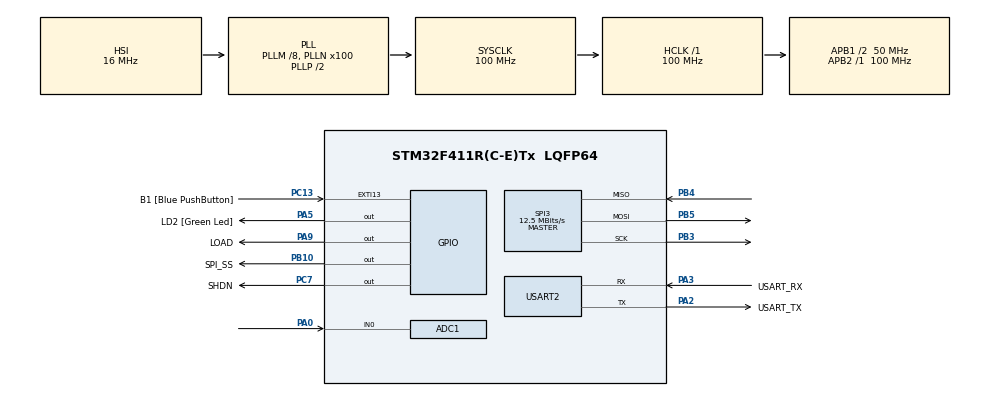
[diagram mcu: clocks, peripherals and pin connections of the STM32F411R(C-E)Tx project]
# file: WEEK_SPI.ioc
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ADC1.Channel-0\#ChannelRegularConversion=ADC_CHANNEL_0
ADC1.DMAContinuousRequests=ENABLE
ADC1.DiscontinuousConvMode=DISABLE
ADC1.ExternalTrigConv=ADC_EXTERNALTRIGCONV_T3_TRGO
ADC1.NbrOfConversionFlag=1
ADC1.Rank-0\#ChannelRegularConversion=1
ADC1.SamplingTime-0\#ChannelRegularConversion=ADC_SAMPLETIME_3CYCLES
ADC1.ScanConvMode=ENABLE
ADC1.master=1
Dma.ADC1.0.Direction=DMA_PERIPH_TO_MEMORY
Dma.ADC1.0.FIFOMode=DMA_FIFOMODE_DISABLE
Dma.ADC1.0.Instance=DMA2_Stream0
Dma.ADC1.0.MemDataAlignment=DMA_MDATAALIGN_HALFWORD
Dma.ADC1.0.MemInc=DMA_MINC_ENABLE
Dma.ADC1.0.Mode=DMA_CIRCULAR
Dma.ADC1.0.PeriphDataAlignment=DMA_PDATAALIGN_HALFWORD
Dma.ADC1.0.PeriphInc=DMA_PINC_DISABLE
Dma.ADC1.0.Priority=DMA_PRIORITY_LOW
Dma.Request0=ADC1
Mcu.Family=STM32F4
Mcu.Name=STM32F411R(C-E)Tx
Mcu.Package=LQFP64
NVIC.ADC_IRQn=true\:0\:0\:false\:false\:true\:true\:true
NVIC.DMA2_Stream0_IRQn=true\:0\:0\:false\:false\:true\:false\:true
NVIC.PriorityGroup=NVIC_PRIORITYGROUP_0
NVIC.SPI3_IRQn=true\:0\:0\:false\:false\:true\:true\:true
NVIC.TIM1_TRG_COM_TIM11_IRQn=true\:0\:0\:false\:false\:true\:true\:true
NVIC.USART2_IRQn=true\:0\:0\:false\:false\:true\:true\:true
PA0-WKUP.Signal=ADCx_IN0
PA13.GPIO_Label=TMS
PA13.Mode=Serial_Wire
PA13.Signal=SYS_JTMS-SWDIO
PA14.GPIO_Label=TCK
PA14.Mode=Serial_Wire
PA14.Signal=SYS_JTCK-SWCLK
PA2.GPIO_Label=USART_TX
PA2.Mode=Asynchronous
PA2.Signal=USART2_TX
PA3.GPIO_Label=USART_RX
PA3.Mode=Asynchronous
PA3.Signal=USART2_RX
PA5.GPIO_Label=LD2 [Green Led]
PA5.Signal=GPIO_Output
PA9.GPIO_Label=LOAD
PA9.PinState=GPIO_PIN_SET
PA9.Signal=GPIO_Output
PB10.GPIO_Label=SPI_SS
PB10.PinState=GPIO_PIN_SET
PB10.Signal=GPIO_Output
PB3.Mode=Full_Duplex_Master
PB3.Signal=SPI3_SCK
PB4.Mode=Full_Duplex_Master
PB4.Signal=SPI3_MISO
PB5.Mode=Full_Duplex_Master
PB5.Signal=SPI3_MOSI
PC13-ANTI_TAMP.GPIO_Label=B1 [Blue PushButton]
PC13-ANTI_TAMP.GPIO_ModeDefaultEXTI=GPIO_MODE_IT_FALLING
PC13-ANTI_TAMP.Signal=GPXTI13
PC14-OSC32_IN.Mode=LSE-External-Oscillator
PC14-OSC32_IN.Signal=RCC_OSC32_IN
PC15-OSC32_OUT.Mode=LSE-External-Oscillator
PC15-OSC32_OUT.Signal=RCC_OSC32_OUT
PC7.GPIO_Label=SHDN
PC7.PinState=GPIO_PIN_SET
PC7.Signal=GPIO_Output
PH0\ -\ OSC_IN.Mode=HSE-External-Clock-Source
PH0\ -\ OSC_IN.Signal=RCC_OSC_IN
PH1\ -\ OSC_OUT.Mode=HSE-External-Clock-Source
PH1\ -\ OSC_OUT.Signal=RCC_OSC_OUT
ProjectManager.HeapSize=0x200
ProjectManager.StackSize=0x400
ProjectManager.TargetToolchain=STM32CubeIDE
RCC.48MHZClocksFreq_Value=50000000
RCC.AHBFreq_Value=100000000
RCC.APB1CLKDivider=RCC_HCLK_DIV2
RCC.APB1Freq_Value=50000000
RCC.APB1TimFreq_Value=100000000
RCC.APB2Freq_Value=100000000
RCC.APB2TimFreq_Value=100000000
RCC.CortexFreq_Value=100000000
RCC.FLatency-AdvancedSettings=FLASH_LATENCY_3
RCC.HCLKFreq_Value=100000000
RCC.HSE_VALUE=8000000
RCC.HSI_VALUE=16000000
RCC.PLLM=8
RCC.PLLN=100
RCC.SYSCLKFreq_VALUE=100000000
RCC.SYSCLKSource=RCC_SYSCLKSOURCE_PLLCLK
RCC.VCOOutputFreq_Value=200000000
SH.ADCx_IN0.0=ADC1_IN0,IN0
SPI3.BaudRatePrescaler=SPI_BAUDRATEPRESCALER_4
SPI3.CalculateBaudRate=12.5 MBits/s
SPI3.DataSize=SPI_DATASIZE_16BIT
SPI3.Direction=SPI_DIRECTION_2LINES
SPI3.Mode=SPI_MODE_MASTER
SPI3.VirtualType=VM_MASTER
TIM11.Prescaler=99
TIM3.Period=100
TIM3.Prescaler=99
TIM3.TIM_MasterOutputTrigger=TIM_TRGO_UPDATE
USART2.VirtualMode=VM_ASYNC
VP_TIM11_VS_ClockSourceINT.Mode=Enable_Timer
VP_TIM3_VS_ClockSourceINT.Mode=Internal
board=NUCLEO-F411RE

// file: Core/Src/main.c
/* USER CODE BEGIN Header */
/**
 ******************************************************************************
 * @file           : main.c
 * @brief          : Main program body
 ******************************************************************************
 * @attention
 *
 * <h2><center>&copy; Copyright (c) 2021 STMicroelectronics.
 * All rights reserved.</center></h2>
 *
 * This software component is licensed by ST under BSD 3-Clause license,
 * the "License"; You may not use this file except in compliance with the
 * License. You may obtain a copy of the License at:
 *                        opensource.org/licenses/BSD-3-Clause
 *
 ******************************************************************************
 */
/* USER CODE END Header */
#include "main.h"
#include <stdio.h>
#include <string.h>
#include <math.h>

ADC_HandleTypeDef hadc1;
DMA_HandleTypeDef hdma_adc1;

SPI_HandleTypeDef hspi3;

TIM_HandleTypeDef htim3;
TIM_HandleTypeDef htim11;

UART_HandleTypeDef huart2;

/* USER CODE BEGIN PV */

char TxDataBuffer[128] =
{ 0 };
char RxDataBuffer[128] =
{ 0 };

uint8_t STATE_Display = 0;
uint64_t timestamp = 0;
uint64_t timestampsin = 0;
float time =0;
int a = 0;
int c=0;
int t=0;
int mode = 0;
float q=0;
float w=0;
float r=0;
uint16_t ADCin = 0;
float VADCin =0;
uint64_t _micro = 0;
float dataOut = 0;
uint8_t DACConfig = 0b0011;
uint16_t  NormalizedataOut =0;

// sawtooth
float F_sawtooth= 0;
int Status_sawtooth= 0;
float Amplitude_sawtooth = 0;
float VoltHigh_sawtooth = 3.3;
float VoltLow_sawtooth  = 0;

// sin
float F_sin= 0;
float Amplitude_sin= 0;
float VoltHigh_sin= 3.3;
float VoltLow_sin = 0;
// Square
float F_Square= 0;

float VoltHigh_Square= 3.3;
float VoltLow_Square = 0;
int duty = 100;

	enum _StateDisplay
	{
	  StateDisplay_Start = 0,
	  StateDisplay_MenuRoot_Print = 10,
	  StateDisplay_MenuRoot_WaitInput,
	  StateDisplay_MenuSawtooth_Print = 20,
	  StateDisplay_MenuSawtooth_WaitInput,
	  StateDisplay_MenuSine_Print = 30,
	  StateDisplay_MenuSine_WaitInput,
	  StateDisplay_MenuSquare_Print = 40,
	  StateDisplay_MenuSquare_WaitInput,

	};

/* USER CODE END PV */

void SystemClock_Config(void);
static void MX_GPIO_Init(void);
static void MX_DMA_Init(void);
static void MX_USART2_UART_Init(void);
static void MX_SPI3_Init(void);
static void MX_ADC1_Init(void);
static void MX_TIM3_Init(void);
static void MX_TIM11_Init(void);
/* USER CODE BEGIN PFP */
void MCP4922SetOutput(uint8_t Config, uint16_t DACOutput);
uint64_t micros();
int16_t UARTRecieveIT();
/* USER CODE END PFP */

int main(void)
{

  /* MCU Configuration--------------------------------------------------------*/

  /* Reset of all peripherals, Initializes the Flash interface and the Systick. */
  HAL_Init();

  /* Configure the system clock */
  SystemClock_Config();

  /* Initialize all configured peripherals */
  MX_GPIO_Init();
  MX_DMA_Init();
  MX_USART2_UART_Init();
  MX_SPI3_Init();
  MX_ADC1_Init();
  MX_TIM3_Init();
  MX_TIM11_Init();
  /* USER CODE BEGIN 2 */
	HAL_TIM_Base_Start(&htim3);
	HAL_TIM_Base_Start_IT(&htim11);
	HAL_ADC_Start_DMA(&hadc1, (uint32_t*) &ADCin, 1);

	HAL_GPIO_WritePin(LOAD_GPIO_Port, LOAD_Pin, GPIO_PIN_RESET);

	 char temp[]="HELLO WORLD\r\n please type something to test UART\r\n";
	  HAL_UART_Transmit(&huart2, (uint8_t*)temp, strlen(temp),10);

  /* USER CODE END 2 */

  /* Infinite loop */
  /* USER CODE BEGIN WHILE */
	while (1)
	{
		static uint64_t timestampsin =0;
		static uint64_t timestamp =0;

		/*Method 2 Interrupt Mode*/
				HAL_UART_Receive_IT(&huart2,  (uint8_t*)RxDataBuffer, 32);

				/*Method 2 W/ 1 Char Received*/
				int16_t inputchar = UARTRecieveIT();
				if(inputchar!=-1)
				{

					sprintf(TxDataBuffer, "ReceivedChar:[%c]\r\n", inputchar);
					HAL_UART_Transmit(&huart2, (uint8_t*)TxDataBuffer, strlen(TxDataBuffer), 1000);
				}

				switch (STATE_Display)
						    {
						    case StateDisplay_Start:
						      STATE_Display = StateDisplay_MenuRoot_Print;
						      break;

						    case StateDisplay_MenuRoot_Print: //display one time state
						    	sprintf(TxDataBuffer, "*****MainMenu***** \r\n 1: Sawtooth \r\n 2: Sine wave \r\n 3: Square wave \r\n");
						    	HAL_UART_Transmit(&huart2, (uint8_t*)TxDataBuffer, strlen(TxDataBuffer), 1000);
						      STATE_Display = StateDisplay_MenuRoot_WaitInput;
						      break;

						    case StateDisplay_MenuRoot_WaitInput: //wait state for input

						      switch (inputchar)
						      {

						      case -1:
						      	break;

						      case '1':

						        STATE_Display = StateDisplay_MenuSawtooth_Print;
						        a=1;       //  (1 on)(0 off)
						        mode =1;   // output
						        Status_sawtooth = 0;  //positive/negative ramp
						        sprintf(TxDataBuffer, " Sawtooth \r\n ");
						        HAL_UART_Transmit(&huart2, (uint8_t*)TxDataBuffer, strlen(TxDataBuffer), 1000);

						        break;
						      case '2':
						        STATE_Display = StateDisplay_MenuSine_Print;
						        a=1;
						        mode=2;
						        timestampsin = micros();
						        sprintf(TxDataBuffer, " Sine \r\n ");
						          HAL_UART_Transmit(&huart2, (uint8_t*)TxDataBuffer, strlen(TxDataBuffer), 1000);
						        break;
						      case '3':
						      	 STATE_Display =StateDisplay_MenuSquare_Print;
						      	a=1;
						      	mode=3;
						      	break;
						      default: // actully error , you can add error message
						    	  sprintf(TxDataBuffer, "unidentified input \r\n");
						    	   HAL_UART_Transmit(&huart2, (uint8_t*)TxDataBuffer, strlen(TxDataBuffer), 1000);
						        STATE_Display = StateDisplay_MenuRoot_Print;
						        break;
						      }
						      break;

						      //Menu 1 sawtooth

						      case StateDisplay_MenuSawtooth_Print: //display state

						      	sprintf(TxDataBuffer, "Sawtooth \r\n a. +0.1 Hz \r\n s. -0.1 Hz \r\n d. On/Off \r\n f.reverse \r\n x. Back \r\n g. V High +0.1V \r\n h. High -0.1V \r\n j. V Low +0.1V \r\n k. Low -0.1V  \r\n");
						      	 HAL_UART_Transmit(&huart2, (uint8_t*)TxDataBuffer, strlen(TxDataBuffer), 1000);

						      	STATE_Display = StateDisplay_MenuSawtooth_WaitInput;
						      break;

						      case StateDisplay_MenuSawtooth_WaitInput: //make decision state
						      	 switch (inputchar)
						      	{
						      		     case -1:
						      		    	 break;

						      		           case 'd': // on/off
						      		             if (a==0)
						      		             {

						      		            	 sprintf(TxDataBuffer, "Turned On \r\n");
						      		            	 HAL_UART_Transmit(&huart2, (uint8_t*)TxDataBuffer, strlen(TxDataBuffer), 1000);
						      		            	 a=1;

						      		             }
						      		             else if (a==1)
						      		             {
						      		            	 	 a=0;
						      		             		sprintf(TxDataBuffer, "Turned Off \r\n");
						      		             		 HAL_UART_Transmit(&huart2, (uint8_t*)TxDataBuffer, strlen(TxDataBuffer), 1000);

						      		             		 }
						      		           STATE_Display = StateDisplay_MenuSawtooth_Print;

						      		             break;
						      		           case 'a':  // เพิ่มความถี่
						      		        	   a=1;
						      		             if(F_sawtooth <10)
						      		             {
						      		            	F_sawtooth+=0.1;
						      		            	t=F_sawtooth*10;
						      		            	sprintf(TxDataBuffer," F_sawtooth is [%d.%d] Hz \r\n" ,t/10,t%10);
						      		            	 HAL_UART_Transmit(&huart2, (uint8_t*)TxDataBuffer, strlen(TxDataBuffer), 1000);
						      		             }
						      		             else
						      		             {
						      		            	sprintf(TxDataBuffer," the highest frequency \r\n" );
						      		            	HAL_UART_Transmit(&huart2, (uint8_t*)TxDataBuffer, strlen(TxDataBuffer), 1000);
						      		             }

						      		           STATE_Display = StateDisplay_MenuSawtooth_Print ;
						      		             break;
						      		           case 's': //  ลดความถี่
						      		        	   a=1;
						      		        	   if(F_sawtooth- 0.1 >0){
						      		        	 F_sawtooth=F_sawtooth-0.1;
						      		        	t=F_sawtooth*10;
						      		        	sprintf(TxDataBuffer,"  F_sawtooth [%d.%d] Hz \r\n" ,t/10,t%10);
						      		        	 HAL_UART_Transmit(&huart2, (uint8_t*)TxDataBuffer, strlen(TxDataBuffer), 1000);
						      		        	   }
						      		        	 else if(F_sawtooth- 0.1 <=0)
						      		            {
						      		        	F_sawtooth=0;
						      		        	sprintf(TxDataBuffer," the Lower frequency \r\n" );
						      		        	HAL_UART_Transmit(&huart2, (uint8_t*)TxDataBuffer, strlen(TxDataBuffer), 1000);

						      		            }

						      		           STATE_Display = StateDisplay_MenuSawtooth_Print;

						      		           break;

						      		           case 'x': // back to main manu
						      		        	   a=0;
						      		           STATE_Display = StateDisplay_MenuRoot_Print;
						      		           break;
						      		         case 'f': // reverse
						      		        	if(Status_sawtooth == 1)
						      		        	{
						      		        		Status_sawtooth = 0;
						      		        		 sprintf(TxDataBuffer, "Positive Ramp \r\n");
						      		        		 HAL_UART_Transmit(&huart2, (uint8_t*)TxDataBuffer, strlen(TxDataBuffer), 1000);
						      		        	}
						      		        	else if(Status_sawtooth == 0)
						      		        		{
						      		        		Status_sawtooth = 1;
						      		        		sprintf(TxDataBuffer, "Negative Ramp \r\n");
						      		        	 HAL_UART_Transmit(&huart2, (uint8_t*)TxDataBuffer, strlen(TxDataBuffer), 1000);
						      		        		}

						      		         	 STATE_Display =StateDisplay_MenuSawtooth_Print;
						      		         	 break;
						      		         case 'g':// +V High
						      		        	if(VoltHigh_sawtooth +0.1 <3.3){
						      		        	VoltHigh_sawtooth =VoltHigh_sawtooth +0.1;
						      		        	t=VoltHigh_sawtooth*10;
						      		        	sprintf(TxDataBuffer,"  VoltHigh_sawtooth is [%d.%d] V \r\n" ,t/10,t%10);
						      		        	HAL_UART_Transmit(&huart2, (uint8_t*)TxDataBuffer, strlen(TxDataBuffer), 1000);

						      		        	}
						      		        	else
						      		        	{
						      		        		VoltHigh_sawtooth =3.3;
						      		        		 sprintf(TxDataBuffer,"highest VoltHigh_sawtooth\r\n");
						      		        		HAL_UART_Transmit(&huart2, (uint8_t*)TxDataBuffer, strlen(TxDataBuffer), 1000);

						      		        		sprintf(TxDataBuffer,"  VoltHigh_sawtoothis 3.3 V \r\n" ,t/10,t%10);
						      		        		HAL_UART_Transmit(&huart2, (uint8_t*)TxDataBuffer, strlen(TxDataBuffer), 1000);

						      		        	}
						      		        	break;
						      		       case 'h':// -V High
						      		    	   if(VoltHigh_sawtooth-0.1>0){
						      		       	VoltHigh_sawtooth =VoltHigh_sawtooth -0.1;
						      		      t=VoltHigh_sawtooth*10;
						      		      	sprintf(TxDataBuffer,"  VoltHigh_sawtoothis [%d.%d] V\r\n" ,t/10,t%10);
						      		      	HAL_UART_Transmit(&huart2, (uint8_t*)TxDataBuffer, strlen(TxDataBuffer), 1000);
						      		    	   }else if (VoltHigh_sawtooth-0.1 <=0)
						      		       	{
						      		       		VoltHigh_sawtooth =0;
					      		        		 sprintf(TxDataBuffer,"lower VoltHigh_sawtooth\r\n");
					      		        		HAL_UART_Transmit(&huart2, (uint8_t*)TxDataBuffer, strlen(TxDataBuffer), 1000);
					      		        		 t=VoltHigh_sawtooth*10;
					      		        		 sprintf(TxDataBuffer,"  VoltHigh_sawtoothis 0 V \r\n" ,t/10,t%10);
					      		        			HAL_UART_Transmit(&huart2, (uint8_t*)TxDataBuffer, strlen(TxDataBuffer), 1000);
						      		       	}
						      		      break;
						      		     case 'j':// +V Low
						      		    	 if(VoltLow_sawtooth +0.1 <3.3){
						      		     VoltLow_sawtooth =VoltLow_sawtooth +0.1;
						      		   t=VoltLow_sawtooth*10;
						      		  	sprintf(TxDataBuffer,"  VoltLow_sawtooth is [%d.%d] V \r\n" ,t/10,t%10);
						      		   	HAL_UART_Transmit(&huart2, (uint8_t*)TxDataBuffer, strlen(TxDataBuffer), 1000);
						      		    	 }
						      		   	else if (VoltLow_sawtooth +0.1 >=3.3)
						      		     {
						      		    	VoltLow_sawtooth =3.3;
						      		    	t=VoltLow_sawtooth*10;
						      		    	sprintf(TxDataBuffer,"  VoltLow_sawtooth is 3.3 V \r\n" );
						      		    	HAL_UART_Transmit(&huart2, (uint8_t*)TxDataBuffer, strlen(TxDataBuffer), 1000);
						      		    	 sprintf(TxDataBuffer,"highest VoltLow_sawtooth");
						      		    	HAL_UART_Transmit(&huart2, (uint8_t*)TxDataBuffer, strlen(TxDataBuffer), 1000);
						      		     }
						      		   break;
						      		   case 'k':// -V Low
						      			   if(VoltLow_sawtooth -0.1 >0){
						      		  	 VoltLow_sawtooth =VoltLow_sawtooth -0.1;
						      		  	 t=VoltLow_sawtooth*10;
						      		  	sprintf(TxDataBuffer,"  VoltLow_sawtooth is [%d.%d] V \r\n" ,t/10,t%10);
						      		  		HAL_UART_Transmit(&huart2, (uint8_t*)TxDataBuffer, strlen(TxDataBuffer), 1000);
						      			   }
						      		  		else if (VoltLow_sawtooth -0.1<=0)
						      		  		{
						      		  		VoltLow_sawtooth =0;
						      		  	sprintf(TxDataBuffer,"  VoltLow_sawtooth is 0 V \r\n" ,t/10,t%10);
						      		  	HAL_UART_Transmit(&huart2, (uint8_t*)TxDataBuffer, strlen(TxDataBuffer), 1000);
						      		  	sprintf(TxDataBuffer,"lower VoltLow_sawtooth");
						      		  	HAL_UART_Transmit(&huart2, (uint8_t*)TxDataBuffer, strlen(TxDataBuffer), 1000);
						      		  		}
						      		  		break;

						      		           default: //show error
						      		        	  sprintf(TxDataBuffer, "unidentified input \r\n");
						      		        	   HAL_UART_Transmit(&huart2, (uint8_t*)TxDataBuffer, strlen(TxDataBuffer), 1000);
						      		             STATE_Display = StateDisplay_MenuSawtooth_Print;
						      		             break;
						      		           }
						      	break;
						      	//Menu 2 sine

						      	case StateDisplay_MenuSine_Print: //display state

						      	sprintf(TxDataBuffer, "Sine \r\n a. +0.1 Hz \r\n s. -0.1 Hz \r\n d. On/Off \r\n x. Back \r\n g. V High +0.1V \r\n h. High -0.1V \r\n j. V Low +0.1V \r\n k. Low -0.1V  \r\n");
						      	 HAL_UART_Transmit(&huart2, (uint8_t*)TxDataBuffer, strlen(TxDataBuffer), 1000);

						      		STATE_Display = StateDisplay_MenuSine_WaitInput;
						      		 break;

						      		  case StateDisplay_MenuSine_WaitInput: //make decision state
						      		 switch (inputchar)
						      				{
						      			 case -1:
						      				 break;
						      			 case 'd': // on/off

						      				if (a==0)
						      			 {

						      				 sprintf(TxDataBuffer, "Turned On \r\n");
						      				HAL_UART_Transmit(&huart2, (uint8_t*)TxDataBuffer, strlen(TxDataBuffer), 1000);
						      				a=1;

						      				 }
						      			else if (a==1)
						      				 {
						      					a=0;
						      				sprintf(TxDataBuffer, "Turned Off \r\n");
						      				 HAL_UART_Transmit(&huart2, (uint8_t*)TxDataBuffer, strlen(TxDataBuffer), 1000);

						      				 }
						      				STATE_Display = StateDisplay_MenuSine_Print;

						      				break;
						      				case 'a':  // เพิ่มความถี่
						      					timestampsin = micros();
						      				a=1;
						      				if(F_sin <10)
						      				 {
						      				F_sin+=0.1;
						      				t=F_sin*10;
						      				sprintf(TxDataBuffer," F_sin is [%d.%d] Hz \r\n" ,t/10,t%10);
						      				 HAL_UART_Transmit(&huart2, (uint8_t*)TxDataBuffer, strlen(TxDataBuffer), 1000);
						      				 }
						      				 else
						      				 {
						      				sprintf(TxDataBuffer," the highest frequency 10Hz \r\n" );
						      					HAL_UART_Transmit(&huart2, (uint8_t*)TxDataBuffer, strlen(TxDataBuffer), 1000);
						      				}

						      					  STATE_Display = StateDisplay_MenuSine_Print ;
						      					   break;
						      			  case 's': //  ลดความถี่
						      				timestampsin = micros();
						      						 a=1;
						      						 if(F_sin-0.1>0){
						      			 F_sin=F_sin-0.1;
						      			t=F_sin*10;
						      			sprintf(TxDataBuffer," F_sin is [%d.%d] Hz \r\n" ,t/10,t%10);
						      				 HAL_UART_Transmit(&huart2, (uint8_t*)TxDataBuffer, strlen(TxDataBuffer), 1000);
						      						 }else if(F_sin-0.1<=0)
						      					  {
						      					F_sin=0;
						      					sprintf(TxDataBuffer," the lower frequency 0 V \r\n" );
						      					HAL_UART_Transmit(&huart2, (uint8_t*)TxDataBuffer, strlen(TxDataBuffer), 1000);

						      					}

						      				STATE_Display = StateDisplay_MenuSine_Print;

						      				  break;

						      				 case 'x': // back to main manu

						      					 a=0;
						      					 STATE_Display = StateDisplay_MenuRoot_Print;
						      				 break;
						      				 case 'g':// +V High
						      					if (VoltHigh_sin +0.1 <3.3){
						      			VoltHigh_sin =VoltHigh_sin +0.1;
						      			t=VoltHigh_sin*10;
						      			sprintf(TxDataBuffer," VoltHigh_sin is [%d.%d] V \r\n" ,t/10,t%10);
						      			HAL_UART_Transmit(&huart2, (uint8_t*)TxDataBuffer, strlen(TxDataBuffer), 1000);

						      					}
						      					else if (VoltHigh_sin +0.1 >=3.3)
						      			{
						      			VoltHigh_sin =3.3;
						      			sprintf(TxDataBuffer," Maximum VoltHigh_sin  3.3 V \r\n");
						      			HAL_UART_Transmit(&huart2, (uint8_t*)TxDataBuffer, strlen(TxDataBuffer), 1000);
						      			}
						      			STATE_Display = StateDisplay_MenuSine_Print;
						      			break;
						      		 case 'h':// -V High
						      			 if(VoltHigh_sin -0.1>0){
						      			VoltHigh_sin =VoltHigh_sin -0.1;
						      			t=VoltHigh_sin*10;
						      			sprintf(TxDataBuffer," VoltHigh_sin is [%d.%d] V \r\n" ,t/10,t%10);
						      				HAL_UART_Transmit(&huart2, (uint8_t*)TxDataBuffer, strlen(TxDataBuffer), 1000);
						      			 }
						      				else if (VoltHigh_sin -0.1<=0)
						      				{
						      			VoltHigh_sin =0;
						      			sprintf(TxDataBuffer," Lower  VoltHigh_sin  0 V \r\n");
						      			HAL_UART_Transmit(&huart2, (uint8_t*)TxDataBuffer, strlen(TxDataBuffer), 1000);
						      			 	}
						      				STATE_Display = StateDisplay_MenuSine_Print;
						      				 break;
						      				 case 'j':// +V Low
						      				if (VoltLow_sin+0.1 <3.3){
						      				 VoltLow_sin =VoltLow_sin +0.1;
						      				t=VoltLow_sin*10;
						      				sprintf(TxDataBuffer," VoltLow_sinis [%d.%d] V \r\n" ,t/10,t%10);
						      				HAL_UART_Transmit(&huart2, (uint8_t*)TxDataBuffer, strlen(TxDataBuffer), 1000);
						      				}
						      				else if (VoltLow_sin+0.1>=3.3)
						      				 {
						      				VoltLow_sin =3.3;
						      				sprintf(TxDataBuffer," Maximum  VoltLow_sin  3.3 V \r\n");
						      				HAL_UART_Transmit(&huart2, (uint8_t*)TxDataBuffer, strlen(TxDataBuffer), 1000);
						      				 }
						      				STATE_Display = StateDisplay_MenuSine_Print;
						      				 break;
						      				 case 'k':// -V Low

						      				 VoltLow_sin =VoltLow_sin -0.1;
						      				 t= VoltLow_sin*10;
						      				sprintf(TxDataBuffer," VoltLow_sinis [%d.%d] V \r\n" ,t/10,t%10);
						      				HAL_UART_Transmit(&huart2, (uint8_t*)TxDataBuffer, strlen(TxDataBuffer), 1000);
						      				if (VoltLow_sin <=0)
						      				{
						      				VoltLow_sin=0;
						      				sprintf(TxDataBuffer," Lower VoltLow_sin  0 V \r\n");
						      				HAL_UART_Transmit(&huart2, (uint8_t*)TxDataBuffer, strlen(TxDataBuffer), 1000);
						      				}
						      				STATE_Display = StateDisplay_MenuSine_Print;
						      				break;

						      			default: //show error

						      			 sprintf(TxDataBuffer, "unidentified input \r\n");
						      			HAL_UART_Transmit(&huart2, (uint8_t*)TxDataBuffer, strlen(TxDataBuffer), 1000);
						      			  STATE_Display = StateDisplay_MenuSine_Print;
						      			 break;

						      				}

						      	 break;

						      	//Menu 3
						      		case StateDisplay_MenuSquare_Print: //display state

						      sprintf(TxDataBuffer, "Square \r\n a. +0.1 Hz \r\n s. -0.1 Hz \r\n d. On/Off \r\n x. Back \r\n g. V High +0.1V \r\n h. High -0.1V \r\n j. V Low +0.1V \r\n k. Low -0.1V  \r\n \r\n l. duty +10  \r\n \r\n p. duty -10  \r\n");
						       HAL_UART_Transmit(&huart2, (uint8_t*)TxDataBuffer, strlen(TxDataBuffer), 1000);

						      	STATE_Display = StateDisplay_MenuSquare_WaitInput;
						      	break;

						      	 case StateDisplay_MenuSquare_WaitInput: //make decision state
						      	 switch (inputchar)
						      		{
						      			case -1:
						      			 break;
						      			 case 'd': // on/off

						      	if (a==0)
						      	 {

						      	 sprintf(TxDataBuffer, "Turned On \r\n");
						      		HAL_UART_Transmit(&huart2, (uint8_t*)TxDataBuffer, strlen(TxDataBuffer), 1000);
						      		a=1;

						      		 }
						      		else if (a==1)
						      			 {
						      		a=0;
						      		sprintf(TxDataBuffer, "Turned Off \r\n");
						      		 HAL_UART_Transmit(&huart2, (uint8_t*)TxDataBuffer, strlen(TxDataBuffer), 1000);

						      		 }
						      		STATE_Display = StateDisplay_MenuSquare_Print;

						      		break;
						      			case 'a':  // เพิ่มความถี่

						      			a=1;
						      			 c=0;
						      			if(F_Square <10)
						      			{
						      			F_Square+=0.1;
						      			t=F_Square*10;
						      			sprintf(TxDataBuffer," F_Square is [%d.%d] Hz \r\n" ,t/10,t%10);
						      			HAL_UART_Transmit(&huart2, (uint8_t*)TxDataBuffer, strlen(TxDataBuffer), 1000);
						      			 }
						      			 else
						      			 {
						      			sprintf(TxDataBuffer," the highest frequency 10Hz \r\n" );
						      			HAL_UART_Transmit(&huart2, (uint8_t*)TxDataBuffer, strlen(TxDataBuffer), 1000);
						      			}

						      			 STATE_Display = StateDisplay_MenuSquare_Print ;
						      			 break;
						      			case 's': //  ลดความถี่
						      				 c=0;

						      			 a=1;
						      			if(F_Square-0.1>0){
						      			 F_Square=F_Square-0.1;
						      			t=F_Square*10;
						      			sprintf(TxDataBuffer," F_Square is [%d.%d] Hz \r\n" ,t/10,t%10);
						      			 HAL_UART_Transmit(&huart2, (uint8_t*)TxDataBuffer, strlen(TxDataBuffer), 1000);
						      			}
						      			 else if(F_Square-0.1<=0)
						      			{
						      			F_Square=0;
						      			sprintf(TxDataBuffer," the Lower frequency 0Hz \r\n" );
						      			HAL_UART_Transmit(&huart2, (uint8_t*)TxDataBuffer, strlen(TxDataBuffer), 1000);

						      			}

						      			STATE_Display = StateDisplay_MenuSquare_Print;

						      			 break;

						      			 case 'x': // back to main manu

						      			 a=0;
						      			STATE_Display = StateDisplay_MenuRoot_Print;
						      			 break;
						      			 case 'g':// +V High
						      				if (VoltHigh_Square+0.1< 3.3){
						      			VoltHigh_Square =VoltHigh_Square +0.1;
						      			t=VoltHigh_Square*10;
						      			sprintf(TxDataBuffer,"VoltHigh_Square is [%d.%d] V \r\n" ,t/10,t%10);
						      			HAL_UART_Transmit(&huart2, (uint8_t*)TxDataBuffer, strlen(TxDataBuffer), 1000);
						      				}
						      			else if (VoltHigh_Square+0.1>=3.3)
						      			{
						      			VoltHigh_Square=3.3;
						      			sprintf(TxDataBuffer,"Maximum VoltHigh_Square is 3.3 V \r\n" ,t/10,t%10);
						      			HAL_UART_Transmit(&huart2, (uint8_t*)TxDataBuffer, strlen(TxDataBuffer), 1000);
						      			}
						      			STATE_Display = StateDisplay_MenuSquare_Print;
						      		break;
						      			 case 'h':// -V High
						      				if (VoltHigh_Square-0.1>0){
						      			VoltHigh_Square =VoltHigh_Square -0.1;
						      			t=VoltHigh_Square*10;
						      				sprintf(TxDataBuffer,"VoltHigh_Square is [%d.%d] V \r\n" ,t/10,t%10);
						      				HAL_UART_Transmit(&huart2, (uint8_t*)TxDataBuffer, strlen(TxDataBuffer), 1000);
						      				}
						      			else if (VoltHigh_Square-0.1<=0)
						      			{
						      			VoltHigh_Square=0;
						      			sprintf(TxDataBuffer,"Lower VoltHigh_Square is 0 V \r\n" ,t/10,t%10);
						      			HAL_UART_Transmit(&huart2, (uint8_t*)TxDataBuffer, strlen(TxDataBuffer), 1000);
						      			}
						      			STATE_Display = StateDisplay_MenuSquare_Print;
						      			 break;
						      			 case 'j':// +V Low
						      				if (VoltLow_Square+0.1 <3.3){
						      			 VoltLow_Square =VoltLow_Square +0.1;
						      			t=VoltLow_Square*10;
						      			sprintf(TxDataBuffer,"VoltLow_Square is [%d.%d] V \r\n" ,t/10,t%10);
						      			HAL_UART_Transmit(&huart2, (uint8_t*)TxDataBuffer, strlen(TxDataBuffer), 1000);
						      				}
						      			else if (VoltLow_Square+0.1>=3.3)
						      			{
						      			VoltLow_Square =3.3;
						      			sprintf(TxDataBuffer,"Maximum VoltLow_Squareis 3.3 V \r\n" ,t/10,t%10);
						      			HAL_UART_Transmit(&huart2, (uint8_t*)TxDataBuffer, strlen(TxDataBuffer), 1000);
						      			 }
						      			STATE_Display = StateDisplay_MenuSquare_Print;
						      			break;
						      			 case 'k':// -V Low
						      				if (VoltLow_Square -0.1 >0){
						      			 VoltLow_Square =VoltLow_Square -0.1;
						      			t=VoltLow_Square*10;
						      			sprintf(TxDataBuffer,"VoltLow_Square is [%d.%d] V \r\n" ,t/10,t%10);
						      			HAL_UART_Transmit(&huart2, (uint8_t*)TxDataBuffer, strlen(TxDataBuffer), 1000);
						      				}
						      			 else if (VoltLow_Square -0.1 <=0)
						      			{
						      			VoltLow_Square=0;
						      			sprintf(TxDataBuffer,"Lower VoltLow_Square is 0 V \r\n" ,t/10,t%10);
						      			HAL_UART_Transmit(&huart2, (uint8_t*)TxDataBuffer, strlen(TxDataBuffer), 1000);
						      			}
						      			STATE_Display = StateDisplay_MenuSquare_Print;
						      			break;
						      			 case'l':

						      				 if(duty+10 <100){
						      				 duty=duty+10;
						      				sprintf(TxDataBuffer," duty is %d \r\n",duty);
						      				HAL_UART_Transmit(&huart2, (uint8_t*)TxDataBuffer, strlen(TxDataBuffer), 1000);
						      				 }else if(duty +10  >= 100){
						      				duty=100;
						      				sprintf(TxDataBuffer,"Maximum duty 100 \r\n");
						      				HAL_UART_Transmit(&huart2, (uint8_t*)TxDataBuffer, strlen(TxDataBuffer), 1000);
						      				 }
						      				STATE_Display = StateDisplay_MenuSquare_Print;
						      				break;
						      			case'p':
						      				if(duty-10>0){
						      			 duty=duty-10;
						      			sprintf(TxDataBuffer," duty is %d \r\n",duty);
						      			HAL_UART_Transmit(&huart2, (uint8_t*)TxDataBuffer, strlen(TxDataBuffer), 1000);
						      				}
						      			else if(duty -10 <= 0){
						      			duty=0;
						      			sprintf(TxDataBuffer,"Lower duty 0 \r\n");
						      			HAL_UART_Transmit(&huart2, (uint8_t*)TxDataBuffer, strlen(TxDataBuffer), 1000);
						      			}
						      				STATE_Display = StateDisplay_MenuSquare_Print;
						      				break;

						      			default: //show error

						      			 sprintf(TxDataBuffer, "unidentified input \r\n");
						      			HAL_UART_Transmit(&huart2, (uint8_t*)TxDataBuffer, strlen(TxDataBuffer), 1000);
						      			 STATE_Display = StateDisplay_MenuSquare_Print;
						      			break;

						      		}
						      	 break;

						    }

			// เเสดงกราฟ
			  if (micros() - timestamp >= 100)
					{
				  timestamp = micros();
				  			if(a == 1)
				  			{

				   if(mode == 1)
				  				{

					   Amplitude_sawtooth = ((VoltHigh_sawtooth-VoltLow_sawtooth)/3.3)*4095;

				  					if(F_sawtooth == 0 )
				  					{

				  						NormalizedataOut = dataOut;

				  					}
				  					else
				  					{
				  						if(Status_sawtooth == 0)
				  						{
				  							dataOut += (Amplitude_sawtooth / (1/F_sawtooth))*0.0001 ;
				  							if(dataOut >= ((VoltHigh_sawtooth/3.3)*4095.0))
				  							{
				  								dataOut = ((VoltHigh_sawtooth/3.3)*4095.0);
				  								NormalizedataOut = dataOut;
				  								dataOut = ((VoltLow_sawtooth/3.3)*4095.0) - ((Amplitude_sawtooth / (1/F_sawtooth))*0.0001 );
				  							}
				  							else
				  							{
				  								NormalizedataOut = dataOut;
				  							}
				  						}
				  						else if(Status_sawtooth == 1)
				  						{
				  							dataOut -= (Amplitude_sawtooth / (1/F_sawtooth))*0.0001;
				  							if(dataOut <= ((VoltLow_sawtooth/3.3)*4095.0))
				  							{
				  								dataOut = ((VoltLow_sawtooth/3.3)*4095.0);
				  								NormalizedataOut = dataOut;
				  								dataOut = ((VoltHigh_sawtooth/3.3)*4095.0) + ((Amplitude_sawtooth/ (1/F_sawtooth))*0.0001 );
				  							}
				  							else
				  							{
				  								NormalizedataOut = dataOut;
				  							}
				  						}
				  					}
				  				}

				   else if(mode == 2)
				  				{

					   Amplitude_sin = (((VoltHigh_sin - VoltLow_sin)/3.3)*4095.0)/2.0;

					   					if(F_sin == 0)
					   					{

					   						NormalizedataOut = dataOut;
					   					}
					   					else
					   					{
					   						dataOut = Amplitude_sin*sin(2*M_PI*F_sin*((micros() - timestampsin)/1000000.0));
					   						dataOut += (Amplitude_sin+((VoltLow_sin)/3.3)*4095.0); // shilf graft
					   						NormalizedataOut = dataOut;
					   					}

				  				}
				   else if(mode == 3)
				  				  				{
					   time = time+1;

					   if(F_Square ==0)
					   {
						   NormalizedataOut = dataOut;
					   }
					   else
					   {
						   r=duty/100.0*(1/F_Square);
					   if(time*0.0001<=(duty/100.0*(1/F_Square)))
					   {

						   dataOut=(VoltHigh_Square)/3.3*4095.0;
						   NormalizedataOut =dataOut;
					   }
					   else if(time*0.0001>=(duty/100.0*(1/F_Square)) && time*0.0001<= 1/F_Square)
					   {

						   dataOut=(VoltLow_Square)/3.3*4095.0;
						   NormalizedataOut =dataOut;
					   }
					   else
					   {
						   time=0;
					   }

					   }

				  				  				}
				  			}
				   else
				   			{
				   				dataOut = 0;
				   				NormalizedataOut = dataOut;
				   			}

				  			if (hspi3.State == HAL_SPI_STATE_READY
				  								&& HAL_GPIO_ReadPin(SPI_SS_GPIO_Port, SPI_SS_Pin)
				  										== GPIO_PIN_SET)
				  						{
				  							MCP4922SetOutput(DACConfig,NormalizedataOut );
				  						}

					}
			  VADCin = (ADCin)*(3.3/4095.0);

    /* USER CODE END WHILE */

	}
}

void SystemClock_Config(void)
{
  RCC_OscInitTypeDef RCC_OscInitStruct = {0};
  RCC_ClkInitTypeDef RCC_ClkInitStruct = {0};

  /** Configure the main internal regulator output voltage
  */
  __HAL_RCC_PWR_CLK_ENABLE();
  __HAL_PWR_VOLTAGESCALING_CONFIG(PWR_REGULATOR_VOLTAGE_SCALE1);
  /** Initializes the RCC Oscillators according to the specified parameters
  * in the RCC_OscInitTypeDef structure.
  */
  RCC_OscInitStruct.OscillatorType = RCC_OSCILLATORTYPE_HSI;
  RCC_OscInitStruct.HSIState = RCC_HSI_ON;
  RCC_OscInitStruct.HSICalibrationValue = RCC_HSICALIBRATION_DEFAULT;
  RCC_OscInitStruct.PLL.PLLState = RCC_PLL_ON;
  RCC_OscInitStruct.PLL.PLLSource = RCC_PLLSOURCE_HSI;
  RCC_OscInitStruct.PLL.PLLM = 8;
  RCC_OscInitStruct.PLL.PLLN = 100;
  RCC_OscInitStruct.PLL.PLLP = RCC_PLLP_DIV2;
  RCC_OscInitStruct.PLL.PLLQ = 4;
  if (HAL_RCC_OscConfig(&RCC_OscInitStruct) != HAL_OK)
  {
    Error_Handler();
  }
  /** Initializes the CPU, AHB and APB buses clocks
  */
  RCC_ClkInitStruct.ClockType = RCC_CLOCKTYPE_HCLK|RCC_CLOCKTYPE_SYSCLK
                              |RCC_CLOCKTYPE_PCLK1|RCC_CLOCKTYPE_PCLK2;
  RCC_ClkInitStruct.SYSCLKSource = RCC_SYSCLKSOURCE_PLLCLK;
  RCC_ClkInitStruct.AHBCLKDivider = RCC_SYSCLK_DIV1;
  RCC_ClkInitStruct.APB1CLKDivider = RCC_HCLK_DIV2;
  RCC_ClkInitStruct.APB2CLKDivider = RCC_HCLK_DIV1;

  if (HAL_RCC_ClockConfig(&RCC_ClkInitStruct, FLASH_LATENCY_3) != HAL_OK)
  {
    Error_Handler();
  }
}

static void MX_ADC1_Init(void)
{

  ADC_ChannelConfTypeDef sConfig = {0};

  /** Configure the global features of the ADC (Clock, Resolution, Data Alignment and number of conversion)
  */
  hadc1.Instance = ADC1;
  hadc1.Init.ClockPrescaler = ADC_CLOCK_SYNC_PCLK_DIV4;
  hadc1.Init.Resolution = ADC_RESOLUTION_12B;
  hadc1.Init.ScanConvMode = ENABLE;
  hadc1.Init.ContinuousConvMode = DISABLE;
  hadc1.Init.DiscontinuousConvMode = DISABLE;
  hadc1.Init.ExternalTrigConvEdge = ADC_EXTERNALTRIGCONVEDGE_RISING;
  hadc1.Init.ExternalTrigConv = ADC_EXTERNALTRIGCONV_T3_TRGO;
  hadc1.Init.DataAlign = ADC_DATAALIGN_RIGHT;
  hadc1.Init.NbrOfConversion = 1;
  hadc1.Init.DMAContinuousRequests = ENABLE;
  hadc1.Init.EOCSelection = ADC_EOC_SINGLE_CONV;
  if (HAL_ADC_Init(&hadc1) != HAL_OK)
  {
    Error_Handler();
  }
  /** Configure for the selected ADC regular channel its corresponding rank in the sequencer and its sample time.
  */
  sConfig.Channel = ADC_CHANNEL_0;
  sConfig.Rank = 1;
  sConfig.SamplingTime = ADC_SAMPLETIME_3CYCLES;
  if (HAL_ADC_ConfigChannel(&hadc1, &sConfig) != HAL_OK)
  {
    Error_Handler();
  }

}

static void MX_SPI3_Init(void)
{

  /* SPI3 parameter configuration*/
  hspi3.Instance = SPI3;
  hspi3.Init.Mode = SPI_MODE_MASTER;
  hspi3.Init.Direction = SPI_DIRECTION_2LINES;
  hspi3.Init.DataSize = SPI_DATASIZE_16BIT;
  hspi3.Init.CLKPolarity = SPI_POLARITY_LOW;
  hspi3.Init.CLKPhase = SPI_PHASE_1EDGE;
  hspi3.Init.NSS = SPI_NSS_SOFT;
  hspi3.Init.BaudRatePrescaler = SPI_BAUDRATEPRESCALER_4;
  hspi3.Init.FirstBit = SPI_FIRSTBIT_MSB;
  hspi3.Init.TIMode = SPI_TIMODE_DISABLE;
  hspi3.Init.CRCCalculation = SPI_CRCCALCULATION_DISABLE;
  hspi3.Init.CRCPolynomial = 10;
  if (HAL_SPI_Init(&hspi3) != HAL_OK)
  {
    Error_Handler();
  }

}

static void MX_TIM3_Init(void)
{

  TIM_ClockConfigTypeDef sClockSourceConfig = {0};
  TIM_MasterConfigTypeDef sMasterConfig = {0};

  htim3.Instance = TIM3;
  htim3.Init.Prescaler = 99;
  htim3.Init.CounterMode = TIM_COUNTERMODE_UP;
  htim3.Init.Period = 100;
  htim3.Init.ClockDivision = TIM_CLOCKDIVISION_DIV1;
  htim3.Init.AutoReloadPreload = TIM_AUTORELOAD_PRELOAD_DISABLE;
  if (HAL_TIM_Base_Init(&htim3) != HAL_OK)
  {
    Error_Handler();
  }
  sClockSourceConfig.ClockSource = TIM_CLOCKSOURCE_INTERNAL;
  if (HAL_TIM_ConfigClockSource(&htim3, &sClockSourceConfig) != HAL_OK)
  {
    Error_Handler();
  }
  sMasterConfig.MasterOutputTrigger = TIM_TRGO_UPDATE;
  sMasterConfig.MasterSlaveMode = TIM_MASTERSLAVEMODE_DISABLE;
  if (HAL_TIMEx_MasterConfigSynchronization(&htim3, &sMasterConfig) != HAL_OK)
  {
    Error_Handler();
  }

}

static void MX_TIM11_Init(void)
{

  htim11.Instance = TIM11;
  htim11.Init.Prescaler = 99;
  htim11.Init.CounterMode = TIM_COUNTERMODE_UP;
  htim11.Init.Period = 65535;
  htim11.Init.ClockDivision = TIM_CLOCKDIVISION_DIV1;
  htim11.Init.AutoReloadPreload = TIM_AUTORELOAD_PRELOAD_DISABLE;
  if (HAL_TIM_Base_Init(&htim11) != HAL_OK)
  {
    Error_Handler();
  }

}

static void MX_USART2_UART_Init(void)
{

  huart2.Instance = USART2;
  huart2.Init.BaudRate = 115200;
  huart2.Init.WordLength = UART_WORDLENGTH_8B;
  huart2.Init.StopBits = UART_STOPBITS_1;
  huart2.Init.Parity = UART_PARITY_NONE;
  huart2.Init.Mode = UART_MODE_TX_RX;
  huart2.Init.HwFlowCtl = UART_HWCONTROL_NONE;
  huart2.Init.OverSampling = UART_OVERSAMPLING_16;
  if (HAL_UART_Init(&huart2) != HAL_OK)
  {
    Error_Handler();
  }

}

static void MX_DMA_Init(void)
{

  /* DMA controller clock enable */
  __HAL_RCC_DMA2_CLK_ENABLE();

  /* DMA interrupt init */
  /* DMA2_Stream0_IRQn interrupt configuration */
  HAL_NVIC_SetPriority(DMA2_Stream0_IRQn, 0, 0);
  HAL_NVIC_EnableIRQ(DMA2_Stream0_IRQn);

}

static void MX_GPIO_Init(void)
{
  GPIO_InitTypeDef GPIO_InitStruct = {0};

  /* GPIO Ports Clock Enable */
  __HAL_RCC_GPIOC_CLK_ENABLE();
  __HAL_RCC_GPIOH_CLK_ENABLE();
  __HAL_RCC_GPIOA_CLK_ENABLE();
  __HAL_RCC_GPIOB_CLK_ENABLE();

  /*Configure GPIO pin Output Level */
  HAL_GPIO_WritePin(LD2_GPIO_Port, LD2_Pin, GPIO_PIN_RESET);

  /*Configure GPIO pin Output Level */
  HAL_GPIO_WritePin(SPI_SS_GPIO_Port, SPI_SS_Pin, GPIO_PIN_SET);

  /*Configure GPIO pin Output Level */
  HAL_GPIO_WritePin(SHDN_GPIO_Port, SHDN_Pin, GPIO_PIN_SET);

  /*Configure GPIO pin Output Level */
  HAL_GPIO_WritePin(LOAD_GPIO_Port, LOAD_Pin, GPIO_PIN_SET);

  /*Configure GPIO pin : B1_Pin */
  GPIO_InitStruct.Pin = B1_Pin;
  GPIO_InitStruct.Mode = GPIO_MODE_IT_FALLING;
  GPIO_InitStruct.Pull = GPIO_NOPULL;
  HAL_GPIO_Init(B1_GPIO_Port, &GPIO_InitStruct);

  /*Configure GPIO pins : LD2_Pin LOAD_Pin */
  GPIO_InitStruct.Pin = LD2_Pin|LOAD_Pin;
  GPIO_InitStruct.Mode = GPIO_MODE_OUTPUT_PP;
  GPIO_InitStruct.Pull = GPIO_NOPULL;
  GPIO_InitStruct.Speed = GPIO_SPEED_FREQ_LOW;
  HAL_GPIO_Init(GPIOA, &GPIO_InitStruct);

  /*Configure GPIO pin : SPI_SS_Pin */
  GPIO_InitStruct.Pin = SPI_SS_Pin;
  GPIO_InitStruct.Mode = GPIO_MODE_OUTPUT_PP;
  GPIO_InitStruct.Pull = GPIO_NOPULL;
  GPIO_InitStruct.Speed = GPIO_SPEED_FREQ_LOW;
  HAL_GPIO_Init(SPI_SS_GPIO_Port, &GPIO_InitStruct);

  /*Configure GPIO pin : SHDN_Pin */
  GPIO_InitStruct.Pin = SHDN_Pin;
  GPIO_InitStruct.Mode = GPIO_MODE_OUTPUT_PP;
  GPIO_InitStruct.Pull = GPIO_NOPULL;
  GPIO_InitStruct.Speed = GPIO_SPEED_FREQ_LOW;
  HAL_GPIO_Init(SHDN_GPIO_Port, &GPIO_InitStruct);

}

/* USER CODE BEGIN 4 */
void MCP4922SetOutput(uint8_t Config, uint16_t DACOutput)
{
	uint32_t OutputPacket = (DACOutput & 0x0fff) | ((Config & 0xf) << 12);
	HAL_GPIO_WritePin(SPI_SS_GPIO_Port, SPI_SS_Pin, GPIO_PIN_RESET);
	HAL_SPI_Transmit_IT(&hspi3, &OutputPacket, 1);
}

void HAL_SPI_TxCpltCallback(SPI_HandleTypeDef *hspi)
{
	if (hspi == &hspi3)
	{
		HAL_GPIO_WritePin(SPI_SS_GPIO_Port, SPI_SS_Pin, GPIO_PIN_SET);
	}
}

void HAL_TIM_PeriodElapsedCallback(TIM_HandleTypeDef *htim)
{
	if (htim == &htim11)
	{
		_micro += 65535;
	}
}

inline uint64_t micros()
{
	return htim11.Instance->CNT + _micro;
}

int16_t UARTRecieveIT()
{
	static uint32_t dataPos =0;
	int16_t data=-1;
	if(huart2.RxXferSize - huart2.RxXferCount!=dataPos)
	{
		data=RxDataBuffer[dataPos];
		dataPos= (dataPos+1)%huart2.RxXferSize;
	}
	return data;
}

/* USER CODE END 4 */

void Error_Handler(void)
{
	__disable_irq();
	while (1)
	{
	}
}

/************************ (C) COPYRIGHT STMicroelectronics *****END OF FILE****/
